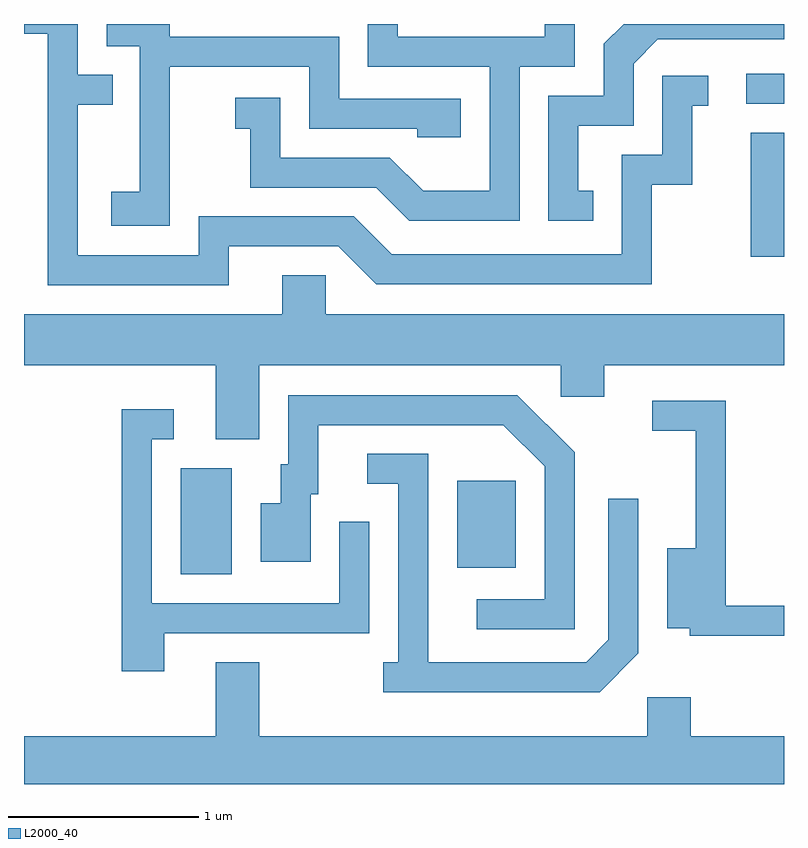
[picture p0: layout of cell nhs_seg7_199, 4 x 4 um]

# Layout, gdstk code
import gdstk
lib = gdstk.Library(unit=1e-6, precision=1e-09)
def R(c, l, rs):  # rectangles x0, y0, x1, y1
    for r in rs: c.add(gdstk.rectangle(r[:2], r[2:], *l))
def P(c, l, *ps):  # polygons
    for p in ps: c.add(gdstk.Polygon(p, *l))
L2000_40 = (2000, 40)

nhs_seg7_199 = lib.new_cell('nhs_seg7_199')
R(nhs_seg7_199, L2000_40, [(190.436,1795.356,190.704,1795.914), (191.891,1795.391,192.199,1795.849), (193.436,1797.026,193.611,1797.679), (193.413,1797.831,193.611,1797.989)])
P(nhs_seg7_199, L2000_40, [(190.379,1798.026),(191.111,1798.026),(191.111,1797.701),(191.681,1797.701),(191.681,1797.656),(191.909,1797.656),(191.909,1797.859),(191.269,1797.859),(191.269,1798.184),(190.379,1798.184),(190.379,1798.252),(190.046,1798.252),(190.046,1798.136),(190.221,1798.136),(190.221,1797.369),(190.071,1797.369),(190.071,1797.191),(190.379,1797.191)],
  [(192.608,1797.374),(192.529,1797.374),(192.529,1797.716),(192.819,1797.716),(192.819,1798.044),(192.947,1798.171),(193.611,1798.171),(193.611,1798.252),(192.767,1798.252),(192.661,1798.147),(192.661,1797.874),(192.371,1797.874),(192.371,1797.216),(192.608,1797.216)],
  [(190.689,1797.081),(191.264,1797.081),(191.464,1796.881),(192.914,1796.881),(192.914,1797.406),(193.129,1797.406),(193.129,1797.821),(193.213,1797.821),(193.213,1797.979),(192.971,1797.979),(192.971,1797.564),(192.756,1797.564),(192.756,1797.039),(191.547,1797.039),(191.347,1797.239),(190.531,1797.239),(190.531,1797.034),(189.894,1797.034),(189.894,1797.826),(190.078,1797.826),(190.078,1797.984),(189.894,1797.984),(189.894,1798.252),(189.611,1798.252),(189.611,1798.201),(189.736,1798.201),(189.736,1796.876),(190.689,1796.876)],
  [(192.219,1798.026),(192.509,1798.026),(192.509,1798.252),(192.351,1798.252),(192.351,1798.184),(191.579,1798.184),(191.579,1798.252),(191.421,1798.252),(191.421,1798.026),(192.061,1798.026),(192.061,1797.374),(191.712,1797.374),(191.537,1797.549),(190.959,1797.549),(190.959,1797.864),(190.723,1797.864),(190.723,1797.701),(190.801,1797.701),(190.801,1797.391),(191.464,1797.391),(191.639,1797.216),(192.219,1797.216)],
  [(190.849,1796.456),(192.436,1796.456),(192.436,1796.291),(192.664,1796.291),(192.664,1796.456),(193.611,1796.456),(193.611,1796.724),(191.199,1796.724),(191.199,1796.929),(190.971,1796.929),(190.971,1796.724),(189.611,1796.724),(189.611,1796.456),(190.621,1796.456),(190.621,1796.066),(190.849,1796.066)],
  [(192.509,1795.997),(192.207,1796.299),(191.001,1796.299),(191.001,1795.934),(190.961,1795.934),(190.961,1795.729),(190.856,1795.729),(190.856,1795.421),(191.119,1795.421),(191.119,1795.776),(191.159,1795.776),(191.159,1796.141),(192.134,1796.141),(192.351,1795.924),(192.351,1795.224),(191.993,1795.224),(191.993,1795.066),(192.509,1795.066)],
  [(193.611,1795.189),(193.304,1795.189),(193.304,1796.269),(192.918,1796.269),(192.918,1796.111),(193.146,1796.111),(193.146,1795.494),(192.996,1795.494),(192.996,1795.071),(193.116,1795.071),(193.116,1795.031),(193.611,1795.031)],
  [(190.349,1795.046),(191.429,1795.046),(191.429,1795.633),(191.271,1795.633),(191.271,1795.204),(190.284,1795.204),(190.284,1796.066),(190.398,1796.066),(190.398,1796.224),(190.126,1796.224),(190.126,1794.846),(190.349,1794.846)],
  [(192.844,1794.939),(192.844,1795.753),(192.686,1795.753),(192.686,1795.012),(192.569,1794.894),(191.739,1794.894),(191.739,1795.989),(191.418,1795.989),(191.418,1795.831),(191.581,1795.831),(191.581,1794.894),(191.503,1794.894),(191.503,1794.736),(192.642,1794.736)],
  [(193.611,1794.504),(193.119,1794.504),(193.119,1794.709),(192.891,1794.709),(192.891,1794.504),(190.849,1794.504),(190.849,1794.894),(190.621,1794.894),(190.621,1794.504),(189.611,1794.504),(189.611,1794.252),(193.611,1794.252)])

lib.write_gds('nhs_seg7_199.gds')
